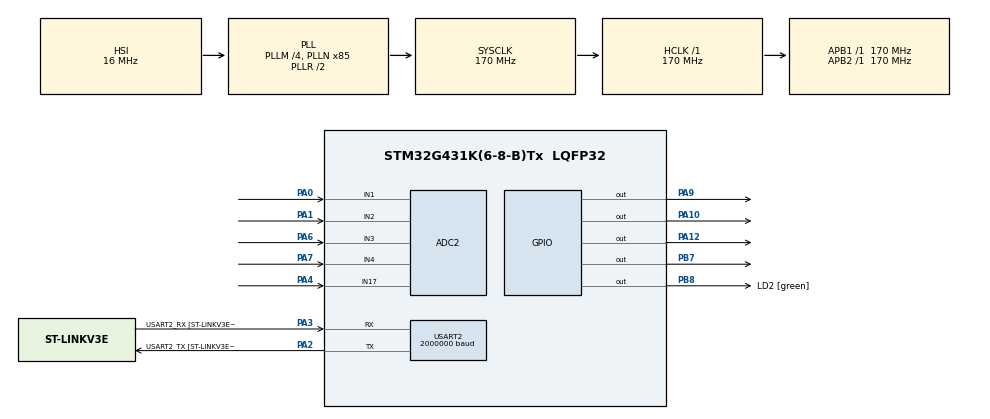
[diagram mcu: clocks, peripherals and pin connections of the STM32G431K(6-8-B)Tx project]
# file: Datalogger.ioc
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ADC2.Channel-0\#ChannelRegularConversion=ADC_CHANNEL_1
ADC2.Channel-1\#ChannelRegularConversion=ADC_CHANNEL_3
ADC2.Channel-4\#ChannelRegularConversion=ADC_CHANNEL_4
ADC2.Channel-5\#ChannelRegularConversion=ADC_CHANNEL_17
ADC2.ContinuousConvMode=ENABLE
ADC2.DMAContinuousRequests=ENABLE
ADC2.EOCSelection=ADC_EOC_SEQ_CONV
ADC2.NbrOfConversion=4
ADC2.NbrOfConversionFlag=1
ADC2.OffsetNumber-0\#ChannelRegularConversion=ADC_OFFSET_NONE
ADC2.OffsetNumber-1\#ChannelRegularConversion=ADC_OFFSET_NONE
ADC2.OffsetNumber-4\#ChannelRegularConversion=ADC_OFFSET_NONE
ADC2.OffsetNumber-5\#ChannelRegularConversion=ADC_OFFSET_NONE
ADC2.Overrun=ADC_OVR_DATA_OVERWRITTEN
ADC2.OversamplingMode=ENABLE
ADC2.Rank-0\#ChannelRegularConversion=1
ADC2.Rank-1\#ChannelRegularConversion=2
ADC2.Rank-4\#ChannelRegularConversion=3
ADC2.Rank-5\#ChannelRegularConversion=4
ADC2.Ratio=ADC_OVERSAMPLING_RATIO_32
ADC2.RightBitShift=ADC_RIGHTBITSHIFT_1
ADC2.SamplingTime-0\#ChannelRegularConversion=ADC_SAMPLETIME_2CYCLES_5
ADC2.SamplingTime-1\#ChannelRegularConversion=ADC_SAMPLETIME_2CYCLES_5
ADC2.SamplingTime-4\#ChannelRegularConversion=ADC_SAMPLETIME_2CYCLES_5
ADC2.SamplingTime-5\#ChannelRegularConversion=ADC_SAMPLETIME_2CYCLES_5
ADC2.SingleDiff-0\#ChannelRegularConversion=ADC_DIFFERENTIAL_ENDED
Dma.ADC2.0.Direction=DMA_PERIPH_TO_MEMORY
Dma.ADC2.0.EventEnable=DISABLE
Dma.ADC2.0.Instance=DMA1_Channel1
Dma.ADC2.0.MemDataAlignment=DMA_MDATAALIGN_HALFWORD
Dma.ADC2.0.MemInc=DMA_MINC_ENABLE
Dma.ADC2.0.Mode=DMA_CIRCULAR
Dma.ADC2.0.PeriphDataAlignment=DMA_PDATAALIGN_HALFWORD
Dma.ADC2.0.PeriphInc=DMA_PINC_DISABLE
Dma.ADC2.0.Polarity=HAL_DMAMUX_REQ_GEN_RISING
Dma.ADC2.0.Priority=DMA_PRIORITY_LOW
Dma.ADC2.0.RequestNumber=1
Dma.ADC2.0.SignalID=NONE
Dma.ADC2.0.SyncEnable=DISABLE
Dma.ADC2.0.SyncPolarity=HAL_DMAMUX_SYNC_NO_EVENT
Dma.ADC2.0.SyncRequestNumber=1
Dma.ADC2.0.SyncSignalID=NONE
Dma.Request0=ADC2
Dma.Request1=USART2_TX
Dma.USART2_TX.1.Direction=DMA_MEMORY_TO_PERIPH
Dma.USART2_TX.1.EventEnable=DISABLE
Dma.USART2_TX.1.Instance=DMA1_Channel2
Dma.USART2_TX.1.MemDataAlignment=DMA_MDATAALIGN_BYTE
Dma.USART2_TX.1.MemInc=DMA_MINC_ENABLE
Dma.USART2_TX.1.Mode=DMA_NORMAL
Dma.USART2_TX.1.PeriphDataAlignment=DMA_PDATAALIGN_BYTE
Dma.USART2_TX.1.PeriphInc=DMA_PINC_DISABLE
Dma.USART2_TX.1.Polarity=HAL_DMAMUX_REQ_GEN_RISING
Dma.USART2_TX.1.Priority=DMA_PRIORITY_LOW
Dma.USART2_TX.1.RequestNumber=1
Dma.USART2_TX.1.SignalID=NONE
Dma.USART2_TX.1.SyncEnable=DISABLE
Dma.USART2_TX.1.SyncPolarity=HAL_DMAMUX_SYNC_NO_EVENT
Dma.USART2_TX.1.SyncRequestNumber=1
Dma.USART2_TX.1.SyncSignalID=NONE
IWDG.Prescaler=IWDG_PRESCALER_8
LPTIM1.ClockPrescaler=LPTIM_PRESCALER_DIV128
Mcu.Family=STM32G4
Mcu.Name=STM32G431K(6-8-B)Tx
Mcu.Package=LQFP32
NVIC.ADC1_2_IRQn=true\:0\:0\:false\:false\:true\:true\:true\:true
NVIC.DMA1_Channel1_IRQn=true\:0\:0\:false\:false\:true\:false\:true\:true
NVIC.DMA1_Channel2_IRQn=true\:0\:0\:false\:false\:true\:false\:true\:true
NVIC.LPTIM1_IRQn=true\:0\:0\:false\:false\:true\:true\:true\:true
NVIC.PriorityGroup=NVIC_PRIORITYGROUP_4
NVIC.USART2_IRQn=true\:0\:0\:false\:false\:true\:true\:true\:true
PA0.Mode=IN1-Differential
PA0.Signal=ADC2_IN1
PA1.Mode=IN1-Differential
PA1.Signal=ADC2_IN2
PA10.Signal=GPIO_Output
PA12.PinState=GPIO_PIN_SET
PA12.Signal=GPIO_Output
PA13.GPIO_Label=T_SWDIO
PA13.Mode=Serial_Wire
PA13.Signal=SYS_JTMS-SWDIO
PA14.GPIO_Label=T_SWCLK
PA14.Mode=Serial_Wire
PA14.Signal=SYS_JTCK-SWCLK
PA2.GPIO_Label=USART2_TX [ST-LINKV3E_VCP_RX]
PA2.Mode=Asynchronous
PA2.Signal=USART2_TX
PA3.GPIO_Label=USART2_RX [ST-LINKV3E_VCP_TX]
PA3.Mode=Asynchronous
PA3.Signal=USART2_RX
PA4.Mode=IN17-Single-Ended
PA4.Signal=ADC2_IN17
PA6.GPIO_Pd=GPIO_PULLDOWN
PA6.Mode=IN3-Single-Ended
PA6.Signal=ADC2_IN3
PA7.Mode=IN4-Single-Ended
PA7.Signal=ADC2_IN4
PA9.Signal=GPIO_Output
PB3.GPIO_Label=T_SWO
PB3.Signal=SYS_JTDO-SWO
PB7.Signal=GPIO_Output
PB8-BOOT0.GPIO_Label=LD2 [green]
PB8-BOOT0.Signal=GPIO_Output
ProjectManager.HeapSize=0x200
ProjectManager.StackSize=0x400
ProjectManager.TargetToolchain=STM32CubeIDE
RCC.ADC12Freq_Value=170000000
RCC.AHBFreq_Value=170000000
RCC.APB1Freq_Value=170000000
RCC.APB1TimFreq_Value=170000000
RCC.APB2Freq_Value=170000000
RCC.APB2TimFreq_Value=170000000
RCC.CortexFreq_Value=170000000
RCC.EXTERNAL_CLOCK_VALUE=12288000
RCC.HCLKFreq_Value=170000000
RCC.HSE_VALUE=8000000
RCC.HSI48_VALUE=48000000
RCC.HSI_VALUE=16000000
RCC.LPTIM1CLockSelection=RCC_LPTIM1CLKSOURCE_LSI
RCC.LSE_VALUE=32768
RCC.PLLM=RCC_PLLM_DIV4
RCC.PLLN=85
RCC.SYSCLKFreq_VALUE=170000000
RCC.SYSCLKSource=RCC_SYSCLKSOURCE_PLLCLK
RCC.USBFreq_Value=170000000
RCC.VCOOutputFreq_Value=340000000
USART2.BaudRate=2000000
USART2.FIFOMode=FIFOMODE_ENABLE
USART2.VirtualMode-Asynchronous=VM_ASYNC
USART2.WordLength=WORDLENGTH_8B
VP_IWDG_VS_IWDG.Mode=IWDG_Activate
VP_LPTIM1_VS_LPTIM_counterModeInternalClock.Mode=Counts__internal_clock_event_00
VP_SYS_VS_DBSignals.Mode=DisableDeadBatterySignals
board=NUCLEO-G431KB

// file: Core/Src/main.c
/* USER CODE BEGIN Header */
/**
  ******************************************************************************
  * @file           : main.c
  * @brief          : Main program body
  ******************************************************************************
  * @attention
  *
  * Copyright (c) 2026 STMicroelectronics.
  * All rights reserved.
  *
  * This software is licensed under terms that can be found in the LICENSE file
  * in the root directory of this software component.
  * If no LICENSE file comes with this software, it is provided AS-IS.
  *
  ******************************************************************************
  */
/* USER CODE END Header */
#include "main.h"

/* USER CODE BEGIN Includes */
#include <stdarg.h>
#include <stdio.h>
#include <stdbool.h>

#include <config.h>
#include "output_timer.h"
/* USER CODE END Includes */

/* USER CODE BEGIN PM */
#define DATALOGGER_VERSION_MAJOR 1
#define DATALOGGER_VERSION_MINOR 4
/* USER CODE END PM */

ADC_HandleTypeDef hadc2;
DMA_HandleTypeDef hdma_adc2;

IWDG_HandleTypeDef hiwdg;

LPTIM_HandleTypeDef hlptim1;

UART_HandleTypeDef huart2;
DMA_HandleTypeDef hdma_usart2_tx;

/* USER CODE BEGIN PV */
uint16_t ADC2ConvertedData[MAX_CHANNELS*FRAMES];

volatile bool fast_mon_vars_en;
uint8_t decimation_factor;
volatile bool output_timer_request = false;
/* USER CODE END PV */

void SystemClock_Config(void);
static void MX_GPIO_Init(void);
static void MX_DMA_Init(void);
static void MX_USART2_UART_Init(void);
static void MX_ADC2_Init(void);
static void MX_LPTIM1_Init(void);
static void MX_IWDG_Init(void);

/* USER CODE BEGIN 0 */

void UARTprintf(const char *pcString, ...)
{
  if (fast_mon_vars_en == false) {  // dont disturb data stream
#define BUF_MAXLEN 1024
    char buf[BUF_MAXLEN];
    va_list args;
    va_start(args, pcString);
    int len = vsnprintf(buf, BUF_MAXLEN, pcString, args);
    va_end(args);
    HAL_UART_Transmit(&huart2, (uint8_t *)buf, len, 10);
  }
}

void print_help()
{
	UARTprintf("\n");
	UARTprintf("Datalogger v%d.%d\n", DATALOGGER_VERSION_MAJOR, DATALOGGER_VERSION_MINOR);
	UARTprintf("Build: %s %s\n", __DATE__, __TIME__);
	UARTprintf("Commands:\n");
	UARTprintf("e: Read temperature (0.1°C) and rel. humidity (0.1%) of DHT22 sensor\n");
	UARTprintf("s: Start monitoring stream\n");
	UARTprintf("x: Stop monitoring stream\n");
	UARTprintf("t: Two channel mode\n");
	UARTprintf("f: Four channel mode\n");
	UARTprintf("d: Set decimation factor (+ number)\n");
	UARTprintf("o: Open output state menu for [PA10,PA9]\n");
	UARTprintf("l: Set output PA12 low for <number> minutes. PA12 is default high. Timer can be refreshed.\n");
	UARTprintf("0-9: Set decimation factor, output state or timer\n");
	UARTprintf("r: Read settings\n");
	UARTprintf("h: Print help (this text)\n");
}

void print_output_state()
{
	if (fast_mon_vars_en == false) {
		UARTprintf("Output state: PA10=%d PA9=%d\n", HAL_GPIO_ReadPin(GPIOA, GPIO_PIN_10), HAL_GPIO_ReadPin(GPIOA, GPIO_PIN_9));
	}
}

void resetWatchdog()
{
	// Watchdog runs at 32/8=4kHz -> ~1sec for 4095
	/* Refresh IWDG: reload counter */
	if(HAL_IWDG_Refresh(&hiwdg) != HAL_OK) {
	  Error_Handler();
	}
}

void HAL_LPTIM_AutoReloadMatchCallback(LPTIM_HandleTypeDef *hlptim)
{
//	cnt_1Hz++;
	output_timer_request = true;
}

void start_stream()
{
	/* Start ADC group regular conversion with DMA */
	if (HAL_ADC_Start_DMA(&hadc2, (uint32_t *)&ADC2ConvertedData, sizeof(ADC2ConvertedData)/sizeof(ADC2ConvertedData[0])) != HAL_OK)
	{
	  /* ADC conversion start error */
	  Error_Handler();
	}
	fast_mon_vars_en = true;
}

void stop_stream()
{
	if (HAL_ADC_Stop_DMA(&hadc2) != HAL_OK)
	{
	  Error_Handler();
	}
	fast_mon_vars_en = false;
}

/**
  * @brief  Tx Transfer completed callback
  * @param  huart: UART handle.
  * @note   This example shows a simple way to report end of DMA Tx transfer, and
  *         you can add your own implementation.
  * @retval None
  */
void HAL_UART_TxCpltCallback(UART_HandleTypeDef *huart)
{
}

/**
  * @brief  UART error callbacks
  * @param  huart: UART handle
  * @note   This example shows a simple way to report transfer error, and you can
  *         add your own implementation.
  * @retval None
  */
void HAL_UART_ErrorCallback(UART_HandleTypeDef *huart)
{
  /* Turn LED off: Transfer error in reception/transmission process */
  GPIOB->BRR = (1<<8);  // disable green LED
  while(1) {

  }
}

void HAL_ADC_ConvCpltCallback(ADC_HandleTypeDef *hadc)
{
	DEBUG_ISR GPIOB->BSRR = (1<<7);  // set Testpin PB7 (PA5) (ext. yellow LED) T0

	/********************************************************/
	/* Highest priority: Get ADC samples					*/
	/* 	execution rate: 50Hz (4chn FRAMES=443)				*/
	/* 	runtime: 3.24us										*/
	/********************************************************/

	// ADC2: four channels
	// main triggers ADC and DMA calls this callback if ADC2ConvertedData[] is full
	//if (hadc == &hadc1) {  // only one ADC is used, so dont need to check

	if (fast_mon_vars_en) {
		if (HAL_UART_Transmit_DMA( &huart2, (uint8_t*)ADC2ConvertedData, sizeof(ADC2ConvertedData)) == HAL_OK) {  // DMA config: Byte<->Byte -> working
		}
//		if (HAL_UART_Transmit_DMA( &huart2, (uint8_t*)ADC2ConvertedData, sizeof(ADC2ConvertedData)/2) == HAL_OK) {  // DMA config: Periph:Byte<->Mem:Half-Word -> does not work
//		}
	}

//	while (HAL_UART_GetState(&huart2) != HAL_UART_STATE_READY)
//	{
//	}
	DEBUG_ISR GPIOB->BRR = (1<<7);  // reset Testpin PB7 (PA5) (ext. yellow LED) T1: ~3.24us after T0

}
/* USER CODE END 0 */

int main(void)
{

  /* MCU Configuration--------------------------------------------------------*/

  /* Reset of all peripherals, Initializes the Flash interface and the Systick. */
  HAL_Init();

  /* Configure the system clock */
  SystemClock_Config();

  /* Initialize all configured peripherals */
  MX_GPIO_Init();
  MX_DMA_Init();
  MX_USART2_UART_Init();
  MX_ADC2_Init();
  MX_LPTIM1_Init();
  MX_IWDG_Init();
  /* USER CODE BEGIN 2 */

  // Start timer for 1Hz system timebase
  #define LPTIM_TICKS_PER_SEC (32000/128)  // timer has 32kHz oscillator and DIV128 -> 250Hz
  if (HAL_LPTIM_Counter_Start_IT(&hlptim1, LPTIM_TICKS_PER_SEC) != HAL_OK) {
    Error_Handler();
  }

  GPIOB->BSRR = (1<<8);  // enable green LED
  print_help();
  fast_mon_vars_en = false;
  decimation_factor = 1;

  // Configure DHT22 temperature and humidity sensor
  DHT22_Init(GPIOB, GPIO_PIN_5);
  uint16_t temperature;
  uint16_t rel_humidity;
  DHT22_Get_Data(&temperature, &rel_humidity);
  UARTprintf("temp=%d\n", temperature);
  UARTprintf("hum=%d\n", rel_humidity);

  /* USER CODE END 2 */

  /* Infinite loop */
  while (1)
  {

    /* USER CODE BEGIN 3 */
	resetWatchdog();

	if (output_timer_request) {
		output_timer_request = false;
		output_timer_step();
	}

	// UART RX
	uint8_t rx_buf = 0;
	HAL_UART_Receive(&huart2, &rx_buf, 1, 1);
	static bool set_decimation = false;
	static bool set_output_state = false;
	static bool set_timer = false;
	static bool two_chn_mode = false;

	if (rx_buf == 'e' && fast_mon_vars_en == false) {
	  DHT22_Get_Data(&temperature, &rel_humidity);
	  UARTprintf("%d %d\n", temperature, rel_humidity);

	} else if (rx_buf == 's' && fast_mon_vars_en == false) {
		UARTprintf("Monitoring stream START\n");
		start_stream();

	} else if (rx_buf == 'x') {  // stop monitoring stream
		stop_stream();

	} else if (rx_buf == 't') {
		two_chn_mode = true;
		stop_stream();
		HAL_Delay(100);
		hadc2.Init.NbrOfConversion = 2;
		if (HAL_ADC_Init(&hadc2) != HAL_OK)
		{
			Error_Handler();
		}

	} else if (rx_buf == 'f') {
		two_chn_mode = false;
		stop_stream();
		HAL_Delay(100);
		hadc2.Init.NbrOfConversion = 4;
		if (HAL_ADC_Init(&hadc2) != HAL_OK)
		{
			Error_Handler();
		}

	} else if (rx_buf == 'd') {
		set_decimation = true;
		set_output_state = false;
		UARTprintf("Enter decimation factor\n");

	} else if (rx_buf == 'o') {
		set_decimation = false;
		set_output_state = true;
		UARTprintf("Enter output state:\n"
				"0: PA10=0 PA9=0\n"
				"1: PA10=0 PA9=1\n"
				"2: PA10=1 PA9=0\n"
				"3: PA10=1 PA9=1\n");

	} else if (rx_buf == 'l') {
		set_timer = true;
		UARTprintf("Enter minutes 0-9\n");

	} else if (set_timer) {
		if (rx_buf != 0) {
			set_timer = false;
		}
		if (rx_buf >= '0' && rx_buf <= '9') {
			uint16_t minutes = rx_buf-'0';
			output_timer_set(0, 60*minutes);
			UARTprintf("output_timer_set %d minutes\n", minutes);
		}

	} else if (set_output_state) {

		if (rx_buf == '0') {        // GPIO 00 PA10=0 PA9=0
			GPIOA->BRR = (1<<9);
			GPIOA->BRR = (1<<10);
			print_output_state();
			set_output_state = false;

		} else if (rx_buf == '1') {  // GPIO 01 PA10=0 PA9=1
			GPIOA->BSRR = (1<<9);
			GPIOA->BRR = (1<<10);
			print_output_state();
			set_output_state = false;

		} else if (rx_buf == '2') {  // GPIO 10 PA10=1 PA9=0
			GPIOA->BRR = (1<<9);
			GPIOA->BSRR = (1<<10);
			print_output_state();
			set_output_state = false;

		} else if (rx_buf == '3') {  // GPIO 11 PA10=1 PA9=1
			GPIOA->BSRR = (1<<9);
			GPIOA->BSRR = (1<<10);
			print_output_state();
			set_output_state = false;
  		} else if (rx_buf != 0) {
  			set_output_state = false;
  		}

	} else if (set_decimation) {
		int8_t new_decimation_factor = -1;

		if (rx_buf == '0' || rx_buf == '1' || rx_buf == '2' || rx_buf == '4' || rx_buf == '8') {
			new_decimation_factor = rx_buf - '0';
			if (new_decimation_factor == 0)
				new_decimation_factor = 1;
			set_decimation = false;
			UARTprintf("Decimation factor = %d\n", new_decimation_factor);

  		} else if (rx_buf >= '0' && rx_buf <= '9') {
  			UARTprintf("Supported decimation factors: 0/1,2,4,8\n");

  		} else if (rx_buf != 0) {
  			set_decimation = false;
  		}

  		if (   new_decimation_factor != -1  // valid decimation factor received
  			&& new_decimation_factor != decimation_factor
		   ){

			stop_stream();
			HAL_Delay(100);

			if (new_decimation_factor == 1) {  // 4chn: 22.1 ksps; 2chn: 44.27 ksps
				hadc2.Init.Oversampling.Ratio = ADC_OVERSAMPLING_RATIO_32;
				hadc2.Init.Oversampling.RightBitShift = ADC_RIGHTBITSHIFT_1;
			} else if (new_decimation_factor == 2) {  // 4chn: 11.1 ksps; 2chn: 22.1 ksps
				hadc2.Init.Oversampling.Ratio = ADC_OVERSAMPLING_RATIO_64;
				hadc2.Init.Oversampling.RightBitShift = ADC_RIGHTBITSHIFT_2;
			} else if (new_decimation_factor == 4) {  // 4chn: 5.54 ksps; 2chn: 11.1 ksps
				hadc2.Init.Oversampling.Ratio = ADC_OVERSAMPLING_RATIO_128;
				hadc2.Init.Oversampling.RightBitShift = ADC_RIGHTBITSHIFT_3;
			} else if (new_decimation_factor == 8) {  // 4chn: 2.77 ksps; 2chn: 5.54 ksps
				hadc2.Init.Oversampling.Ratio = ADC_OVERSAMPLING_RATIO_256;
				hadc2.Init.Oversampling.RightBitShift = ADC_RIGHTBITSHIFT_4;
			}

			if (HAL_ADC_Init(&hadc2) != HAL_OK)
			{
				Error_Handler();
			}
			decimation_factor = new_decimation_factor;
  		}

	} else if (rx_buf == 'r' && fast_mon_vars_en == false ) {
		UARTprintf("\nChannel mode: %s\n", two_chn_mode ? "TWO_CHN" : "FOUR_CHN");
		UARTprintf("Decimation factor = %d\n", decimation_factor);
		print_output_state();
		UARTprintf("Timer output PA12 low for remaining %d seconds.\n", output_timer_get(0));

	} else if (rx_buf == 'h' && fast_mon_vars_en == false) {
		print_help();

  	} else if (rx_buf != 0 && fast_mon_vars_en == false) {
  		UARTprintf("\nUnknown command!");
  		print_help();
  	}
  }
  /* USER CODE END 3 */
}

void SystemClock_Config(void)
{
  RCC_OscInitTypeDef RCC_OscInitStruct = {0};
  RCC_ClkInitTypeDef RCC_ClkInitStruct = {0};

  /** Configure the main internal regulator output voltage
  */
  HAL_PWREx_ControlVoltageScaling(PWR_REGULATOR_VOLTAGE_SCALE1_BOOST);

  /** Initializes the RCC Oscillators according to the specified parameters
  * in the RCC_OscInitTypeDef structure.
  */
  RCC_OscInitStruct.OscillatorType = RCC_OSCILLATORTYPE_HSI|RCC_OSCILLATORTYPE_LSI;
  RCC_OscInitStruct.HSIState = RCC_HSI_ON;
  RCC_OscInitStruct.HSICalibrationValue = RCC_HSICALIBRATION_DEFAULT;
  RCC_OscInitStruct.LSIState = RCC_LSI_ON;
  RCC_OscInitStruct.PLL.PLLState = RCC_PLL_ON;
  RCC_OscInitStruct.PLL.PLLSource = RCC_PLLSOURCE_HSI;
  RCC_OscInitStruct.PLL.PLLM = RCC_PLLM_DIV4;
  RCC_OscInitStruct.PLL.PLLN = 85;
  RCC_OscInitStruct.PLL.PLLP = RCC_PLLP_DIV2;
  RCC_OscInitStruct.PLL.PLLQ = RCC_PLLQ_DIV2;
  RCC_OscInitStruct.PLL.PLLR = RCC_PLLR_DIV2;
  if (HAL_RCC_OscConfig(&RCC_OscInitStruct) != HAL_OK)
  {
    Error_Handler();
  }

  /** Initializes the CPU, AHB and APB buses clocks
  */
  RCC_ClkInitStruct.ClockType = RCC_CLOCKTYPE_HCLK|RCC_CLOCKTYPE_SYSCLK
                              |RCC_CLOCKTYPE_PCLK1|RCC_CLOCKTYPE_PCLK2;
  RCC_ClkInitStruct.SYSCLKSource = RCC_SYSCLKSOURCE_PLLCLK;
  RCC_ClkInitStruct.AHBCLKDivider = RCC_SYSCLK_DIV1;
  RCC_ClkInitStruct.APB1CLKDivider = RCC_HCLK_DIV1;
  RCC_ClkInitStruct.APB2CLKDivider = RCC_HCLK_DIV1;

  if (HAL_RCC_ClockConfig(&RCC_ClkInitStruct, FLASH_LATENCY_4) != HAL_OK)
  {
    Error_Handler();
  }
}

static void MX_ADC2_Init(void)
{

  ADC_ChannelConfTypeDef sConfig = {0};

  /** Common config
  */
  hadc2.Instance = ADC2;
  hadc2.Init.ClockPrescaler = ADC_CLOCK_SYNC_PCLK_DIV4;
  hadc2.Init.Resolution = ADC_RESOLUTION_12B;
  hadc2.Init.DataAlign = ADC_DATAALIGN_RIGHT;
  hadc2.Init.GainCompensation = 0;
  hadc2.Init.ScanConvMode = ADC_SCAN_ENABLE;
  hadc2.Init.EOCSelection = ADC_EOC_SEQ_CONV;
  hadc2.Init.LowPowerAutoWait = DISABLE;
  hadc2.Init.ContinuousConvMode = ENABLE;
  hadc2.Init.NbrOfConversion = 4;
  hadc2.Init.DiscontinuousConvMode = DISABLE;
  hadc2.Init.ExternalTrigConv = ADC_SOFTWARE_START;
  hadc2.Init.ExternalTrigConvEdge = ADC_EXTERNALTRIGCONVEDGE_NONE;
  hadc2.Init.DMAContinuousRequests = ENABLE;
  hadc2.Init.Overrun = ADC_OVR_DATA_OVERWRITTEN;
  hadc2.Init.OversamplingMode = ENABLE;
  hadc2.Init.Oversampling.Ratio = ADC_OVERSAMPLING_RATIO_32;
  hadc2.Init.Oversampling.RightBitShift = ADC_RIGHTBITSHIFT_1;
  hadc2.Init.Oversampling.TriggeredMode = ADC_TRIGGEREDMODE_SINGLE_TRIGGER;
  hadc2.Init.Oversampling.OversamplingStopReset = ADC_REGOVERSAMPLING_CONTINUED_MODE;
  if (HAL_ADC_Init(&hadc2) != HAL_OK)
  {
    Error_Handler();
  }

  /** Configure Regular Channel
  */
  sConfig.Channel = ADC_CHANNEL_1;
  sConfig.Rank = ADC_REGULAR_RANK_1;
  sConfig.SamplingTime = ADC_SAMPLETIME_2CYCLES_5;
  sConfig.SingleDiff = ADC_DIFFERENTIAL_ENDED;
  sConfig.OffsetNumber = ADC_OFFSET_NONE;
  sConfig.Offset = 0;
  if (HAL_ADC_ConfigChannel(&hadc2, &sConfig) != HAL_OK)
  {
    Error_Handler();
  }

  /** Configure Regular Channel
  */
  sConfig.Channel = ADC_CHANNEL_3;
  sConfig.Rank = ADC_REGULAR_RANK_2;
  sConfig.SingleDiff = ADC_SINGLE_ENDED;
  if (HAL_ADC_ConfigChannel(&hadc2, &sConfig) != HAL_OK)
  {
    Error_Handler();
  }

  /** Configure Regular Channel
  */
  sConfig.Channel = ADC_CHANNEL_4;
  sConfig.Rank = ADC_REGULAR_RANK_3;
  if (HAL_ADC_ConfigChannel(&hadc2, &sConfig) != HAL_OK)
  {
    Error_Handler();
  }

  /** Configure Regular Channel
  */
  sConfig.Channel = ADC_CHANNEL_17;
  sConfig.Rank = ADC_REGULAR_RANK_4;
  if (HAL_ADC_ConfigChannel(&hadc2, &sConfig) != HAL_OK)
  {
    Error_Handler();
  }

}

static void MX_IWDG_Init(void)
{

  hiwdg.Instance = IWDG;
  hiwdg.Init.Prescaler = IWDG_PRESCALER_8;
  hiwdg.Init.Window = 4095;
  hiwdg.Init.Reload = 4095;
  if (HAL_IWDG_Init(&hiwdg) != HAL_OK)
  {
    Error_Handler();
  }

}

static void MX_LPTIM1_Init(void)
{

  hlptim1.Instance = LPTIM1;
  hlptim1.Init.Clock.Source = LPTIM_CLOCKSOURCE_APBCLOCK_LPOSC;
  hlptim1.Init.Clock.Prescaler = LPTIM_PRESCALER_DIV128;
  hlptim1.Init.Trigger.Source = LPTIM_TRIGSOURCE_SOFTWARE;
  hlptim1.Init.OutputPolarity = LPTIM_OUTPUTPOLARITY_HIGH;
  hlptim1.Init.UpdateMode = LPTIM_UPDATE_IMMEDIATE;
  hlptim1.Init.CounterSource = LPTIM_COUNTERSOURCE_INTERNAL;
  hlptim1.Init.Input1Source = LPTIM_INPUT1SOURCE_GPIO;
  hlptim1.Init.Input2Source = LPTIM_INPUT2SOURCE_GPIO;
  if (HAL_LPTIM_Init(&hlptim1) != HAL_OK)
  {
    Error_Handler();
  }

}

static void MX_USART2_UART_Init(void)
{

  huart2.Instance = USART2;
  huart2.Init.BaudRate = 2000000;
  huart2.Init.WordLength = UART_WORDLENGTH_8B;
  huart2.Init.StopBits = UART_STOPBITS_1;
  huart2.Init.Parity = UART_PARITY_NONE;
  huart2.Init.Mode = UART_MODE_TX_RX;
  huart2.Init.HwFlowCtl = UART_HWCONTROL_NONE;
  huart2.Init.OverSampling = UART_OVERSAMPLING_16;
  huart2.Init.OneBitSampling = UART_ONE_BIT_SAMPLE_DISABLE;
  huart2.Init.ClockPrescaler = UART_PRESCALER_DIV1;
  huart2.AdvancedInit.AdvFeatureInit = UART_ADVFEATURE_NO_INIT;
  if (HAL_UART_Init(&huart2) != HAL_OK)
  {
    Error_Handler();
  }
  if (HAL_UARTEx_SetTxFifoThreshold(&huart2, UART_TXFIFO_THRESHOLD_1_8) != HAL_OK)
  {
    Error_Handler();
  }
  if (HAL_UARTEx_SetRxFifoThreshold(&huart2, UART_RXFIFO_THRESHOLD_1_8) != HAL_OK)
  {
    Error_Handler();
  }
  if (HAL_UARTEx_EnableFifoMode(&huart2) != HAL_OK)
  {
    Error_Handler();
  }

}

static void MX_DMA_Init(void)
{

  /* DMA controller clock enable */
  __HAL_RCC_DMAMUX1_CLK_ENABLE();
  __HAL_RCC_DMA1_CLK_ENABLE();

  /* DMA interrupt init */
  /* DMA1_Channel1_IRQn interrupt configuration */
  HAL_NVIC_SetPriority(DMA1_Channel1_IRQn, 0, 0);
  HAL_NVIC_EnableIRQ(DMA1_Channel1_IRQn);
  /* DMA1_Channel2_IRQn interrupt configuration */
  HAL_NVIC_SetPriority(DMA1_Channel2_IRQn, 0, 0);
  HAL_NVIC_EnableIRQ(DMA1_Channel2_IRQn);

}

static void MX_GPIO_Init(void)
{
  GPIO_InitTypeDef GPIO_InitStruct = {0};

  /* GPIO Ports Clock Enable */
  __HAL_RCC_GPIOA_CLK_ENABLE();
  __HAL_RCC_GPIOB_CLK_ENABLE();

  /*Configure GPIO pin Output Level */
  HAL_GPIO_WritePin(GPIOA, GPIO_PIN_9|GPIO_PIN_10, GPIO_PIN_RESET);

  /*Configure GPIO pin Output Level */
  HAL_GPIO_WritePin(GPIOA, GPIO_PIN_12, GPIO_PIN_SET);

  /*Configure GPIO pin Output Level */
  HAL_GPIO_WritePin(GPIOB, GPIO_PIN_7|LD2_Pin, GPIO_PIN_RESET);

  /*Configure GPIO pins : PA9 PA10 PA12 */
  GPIO_InitStruct.Pin = GPIO_PIN_9|GPIO_PIN_10|GPIO_PIN_12;
  GPIO_InitStruct.Mode = GPIO_MODE_OUTPUT_PP;
  GPIO_InitStruct.Pull = GPIO_NOPULL;
  GPIO_InitStruct.Speed = GPIO_SPEED_FREQ_LOW;
  HAL_GPIO_Init(GPIOA, &GPIO_InitStruct);

  /*Configure GPIO pins : PB7 LD2_Pin */
  GPIO_InitStruct.Pin = GPIO_PIN_7|LD2_Pin;
  GPIO_InitStruct.Mode = GPIO_MODE_OUTPUT_PP;
  GPIO_InitStruct.Pull = GPIO_NOPULL;
  GPIO_InitStruct.Speed = GPIO_SPEED_FREQ_LOW;
  HAL_GPIO_Init(GPIOB, &GPIO_InitStruct);

}

void Error_Handler(void)
{
  /* USER CODE BEGIN Error_Handler_Debug */
  /* User can add his own implementation to report the HAL error return state */
  __disable_irq();
  while (1)
  {
	/* Toggle LED for error */
	GPIOB->ODR ^= (1 << 8);  // toggle green LED
	HAL_Delay(500);
  }
  /* USER CODE END Error_Handler_Debug */
}
